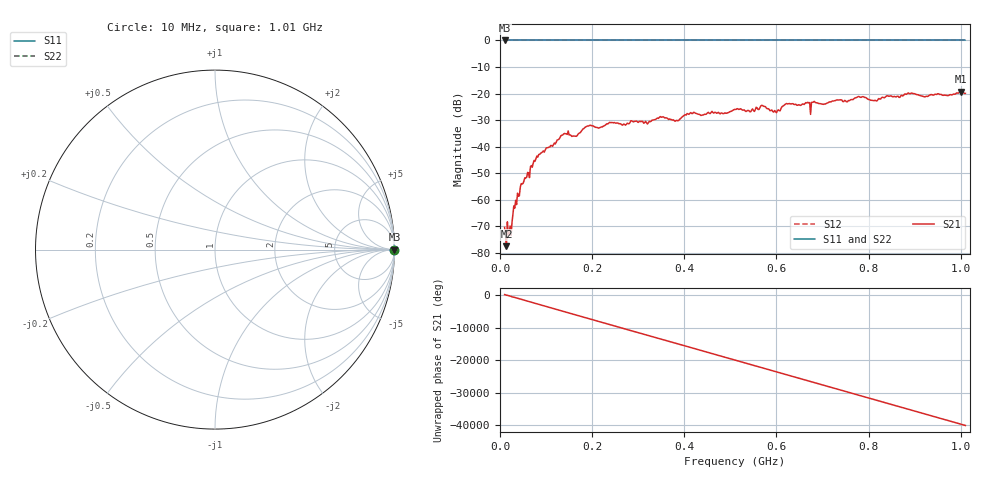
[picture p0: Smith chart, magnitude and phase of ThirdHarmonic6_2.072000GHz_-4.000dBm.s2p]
! 8/17/2025 12:48:56 AM
! C:\ANRITSUVNA\TEMP\TEMP.S2P
! CHANNEL.1
! TR.MEASUREMENT
! RAW.DATA
! RF.CORRECTION.OFF
! AVERAGING.OFF
! IF.BANDWIDTH: 5KHZ
! SWEEPTYPE:  FREQ.SWEEP(Linear)
! Reference Plane Port Info
! PORT:  PORT1  PORT2
! DISTANCE:  0  m  0  m
! TIME:  0  s  0  s
! PHASE.OFFSET:  0  deg.  0  deg.
! LOSS:  0  dB  0  dB
! REF.LOSS:  0  dB  0  dB
! REF.FREQ:  0  Hz  0  Hz
! Power Info
! POWER:  -20  dBm  -20  dBm
! EFF.POWER:  -20  dBm  -20  dBm
! SOURCE.ATTEN:  0  dB  0  dB
! TEST.ATTEN:  0  dB  0  dB
# GHZ S RI R 50.0
! FREQ.GHZ  S11RE  S11IM  S21RE  S21IM  S12RE  S12IM  S22RE  S22IM
!; PortSelection: Port_12
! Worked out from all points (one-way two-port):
!   501 points, 10 MHz to 1.01 GHz, reference 50 ohm
!   highest |S21| = -19.30 dB at 1 GHz (marker M1); lowest = -77.5 dB at 14 MHz (marker M2)
!   lowest |S11| = 0.0 dB at 10 MHz (marker M3)
!   |S11| at or under -10 dB: nowhere
!   |S22| runs from 0.0 to 0.0 dB; largest |S21 - S12| = 1.1
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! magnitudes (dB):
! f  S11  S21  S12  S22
! 10 MHz  0.0  -70.4  0.0  0.0
! 14 MHz  0.0  -77.5  0.0  0.0
! 22 MHz  0.0  -69.9  0.0  0.0
! 34 MHz  0.0  -60.2  0.0  0.0
! 48 MHz  0.0  -54.1  0.0  0.0
! 82 MHz  0.0  -43.9  0.0  0.0
! 136 MHz  0.0  -35.6  0.0  0.0
! 164 MHz  0.0  -36.0  0.0  0.0
! 178 MHz  0.0  -33.8  0.0  0.0
! 194 MHz  0.0  -32.0  0.0  0.0
! 322 MHz  0.0  -30.9  0.0  0.0
! 344 MHz  0.0  -29.3  0.0  0.0
! 384 MHz  0.0  -30.1  0.0  0.0
! 410 MHz  0.0  -27.8  0.0  0.0
! 510 MHz  0.0  -25.9  0.0  0.0
! 570 MHz  0.0  -24.5  0.0  0.0
! 596 MHz  0.0  -26.4  0.0  0.0
! 624 MHz  0.0  -23.9  0.0  0.0
! 678 MHz  0.0  -23.3  0.0  0.0
! 844 MHz  0.0  -21.0  0.0  0.0
! 1 GHz  0.0  -19.3  0.0  0.0
! 1.01 GHz  0.0  -20.0  0.0  0.0
